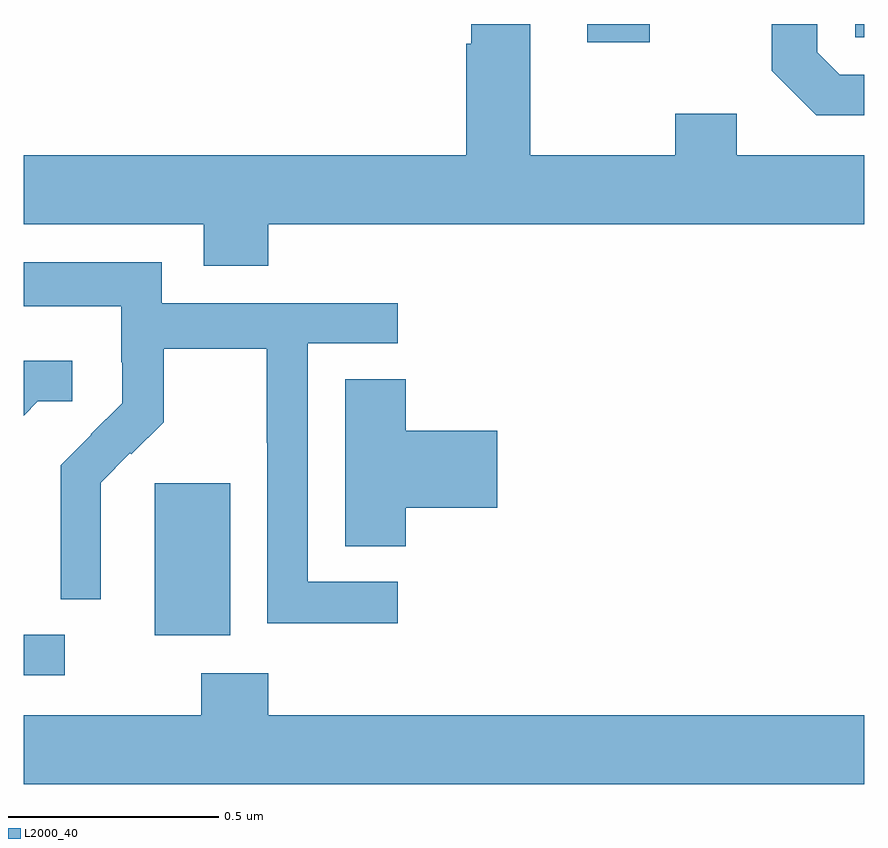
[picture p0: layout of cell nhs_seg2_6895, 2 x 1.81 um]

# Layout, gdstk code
import gdstk
lib = gdstk.Library(unit=1e-6, precision=1e-09)
def R(c, l, rs):  # rectangles x0, y0, x1, y1
    for r in rs: c.add(gdstk.rectangle(r[:2], r[2:], *l))
def P(c, l, *ps):  # polygons
    for p in ps: c.add(gdstk.Polygon(p, *l))
L2000_40 = (2000, 40)

nhs_seg2_6895 = lib.new_cell('nhs_seg2_6895')
R(nhs_seg2_6895, L2000_40, [(197,625.251,197.098,625.347), (197.312,625.346,197.491,625.707), (198.341,626.757,198.49,626.8), (198.978,626.769,199,626.8)])
P(nhs_seg2_6895, L2000_40, [(197.582,626.324),(199,626.324),(199,626.488),(198.697,626.488),(198.697,626.587),(198.55,626.587),(198.55,626.488),(198.205,626.488),(198.205,626.8),(198.065,626.8),(198.065,626.753),(198.053,626.753),(198.053,626.488),(197,626.488),(197,626.324),(197.429,626.324),(197.429,626.225),(197.582,626.225)],
  [(199,626.679),(198.942,626.679),(198.888,626.733),(198.888,626.8),(198.78,626.8),(198.78,626.689),(198.885,626.583),(199,626.583)],
  [(197.89,625.473),(197.676,625.473),(197.676,626.04),(197.89,626.04),(197.89,626.136),(197.328,626.136),(197.328,626.233),(197,626.233),(197,626.129),(197.232,626.129),(197.232,625.995),(197.234,625.995),(197.234,625.898),(197.16,625.824),(197.161,625.823),(197.088,625.75),(197.088,625.432),(197.184,625.432),(197.184,625.586),(197.183,625.586),(197.183,625.709),(197.253,625.779),(197.256,625.776),(197.333,625.853),(197.333,626.028),(197.578,626.028),(197.578,625.804),(197.58,625.804),(197.58,625.375),(197.89,625.375)],
  [(197.034,625.902),(197.116,625.902),(197.116,625.999),(197,625.999),(197,625.868)],
  [(197.909,625.649),(198.127,625.649),(198.127,625.832),(197.909,625.832),(197.909,625.955),(197.765,625.955),(197.765,625.558),(197.909,625.558)],
  [(199,625.156),(197.582,625.156),(197.582,625.255),(197.422,625.255),(197.422,625.156),(197,625.156),(197,624.992),(199,624.992)])

lib.write_gds('nhs_seg2_6895.gds')
